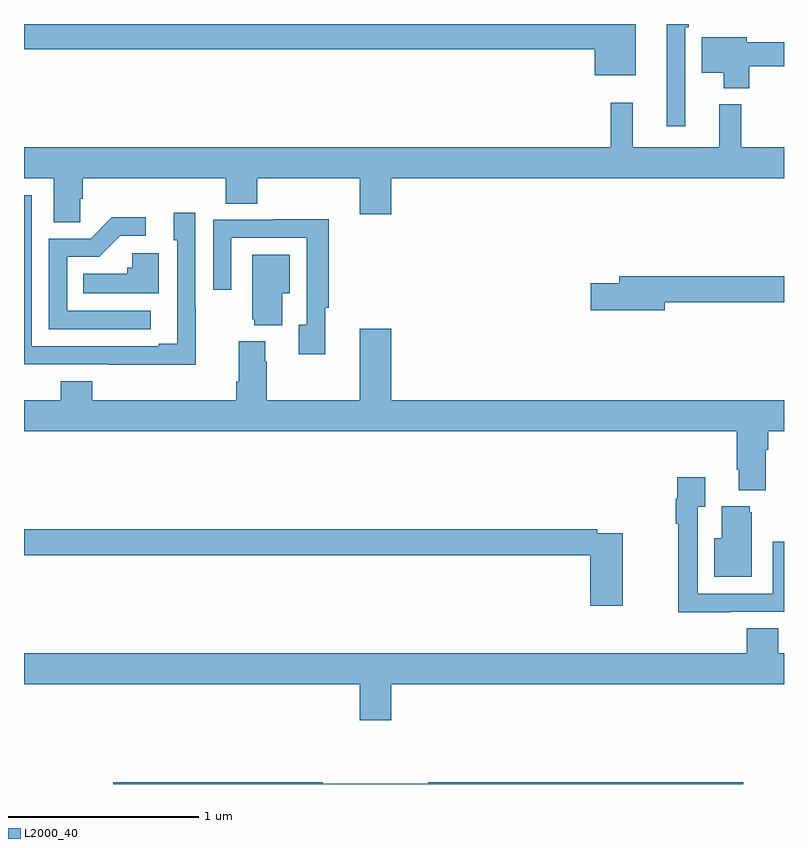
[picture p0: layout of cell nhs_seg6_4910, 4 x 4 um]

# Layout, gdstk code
import gdstk
lib = gdstk.Library(unit=1e-6, precision=1e-09)
def P(c, l, *ps):  # polygons
    for p in ps: c.add(gdstk.Polygon(p, *l))
L2000_40 = (2000, 40)

nhs_seg6_4910 = lib.new_cell('nhs_seg6_4910')
P(nhs_seg6_4910, L2000_40, [(406.479,929.483),(406.499,929.483),(406.499,929.5),(406.382,929.5),(406.382,928.962),(406.479,928.962)],
  [(406.219,929.5),(403,929.5),(403,929.368),(406.004,929.368),(406.004,929.231),(406.219,929.231)],
  [(406.817,929.277),(407,929.277),(407,929.405),(406.804,929.405),(406.804,929.431),(406.568,929.431),(406.568,929.243),(406.682,929.243),(406.682,929.162),(406.817,929.162)],
  [(403.296,928.579),(403.31,928.579),(403.31,928.688),(404.063,928.688),(404.063,928.555),(404.228,928.555),(404.228,928.688),(404.768,928.688),(404.768,928.5),(404.932,928.5),(404.932,928.688),(407,928.688),(407,928.852),(406.775,928.852),(406.775,929.077),(406.658,929.077),(406.658,928.852),(406.205,928.852),(406.205,929.086),(406.087,929.086),(406.087,928.852),(403,928.852),(403,928.688),(403.157,928.688),(403.157,928.456),(403.296,928.456)],
  [(403.905,928.013),(403.902,928.013),(403.902,928.507),(403.787,928.507),(403.787,928.362),(403.806,928.362),(403.806,927.817),(403.709,927.817),(403.709,927.804),(403.041,927.804),(403.041,928.599),(403,928.599),(403,927.708),(403.441,927.708),(403.441,927.707),(403.905,927.707)],
  [(403.666,927.99),(403.227,927.99),(403.227,928.275),(403.396,928.275),(403.507,928.386),(403.642,928.386),(403.642,928.484),(403.463,928.484),(403.35,928.371),(403.131,928.371),(403.131,927.894),(403.666,927.894)],
  [(404.585,928.006),(404.603,928.006),(404.603,928.472),(404.311,928.472),(404.311,928.47),(403.995,928.47),(403.995,928.101),(404.091,928.101),(404.091,928.374),(404.487,928.374),(404.487,927.918),(404.447,927.918),(404.447,927.762),(404.585,927.762)],
  [(403.708,928.294),(403.569,928.294),(403.569,928.218),(403.543,928.218),(403.543,928.186),(403.312,928.186),(403.312,928.082),(403.708,928.082)],
  [(404.359,928.082),(404.398,928.082),(404.398,928.285),(404.201,928.285),(404.201,927.945),(404.213,927.945),(404.213,927.914),(404.359,927.914)],
  [(406.372,928.036),(407,928.036),(407,928.172),(406.133,928.172),(406.133,928.136),(405.984,928.136),(405.984,927.994),(406.372,927.994)],
  [(406.903,927.26),(406.916,927.26),(406.916,927.356),(407,927.356),(407,927.52),(404.932,927.52),(404.932,927.895),(404.768,927.895),(404.768,927.52),(404.277,927.52),(404.277,927.722),(404.269,927.722),(404.269,927.829),(404.129,927.829),(404.129,927.616),(404.117,927.616),(404.117,927.52),(403.358,927.52),(403.358,927.619),(403.193,927.619),(403.193,927.52),(403,927.52),(403,927.356),(406.751,927.356),(406.751,927.154),(406.763,927.154),(406.763,927.047),(406.903,927.047)],
  [(406.721,926.406),(407,926.406),(407,926.776),(406.941,926.776),(406.941,926.502),(406.545,926.502),(406.545,926.959),(406.585,926.959),(406.585,927.115),(406.437,927.115),(406.437,927.002),(406.429,927.002),(406.429,926.87),(406.444,926.87),(406.444,926.405),(406.721,926.405)],
  [(406.831,926.931),(406.82,926.931),(406.82,926.962),(406.673,926.962),(406.673,926.794),(406.634,926.794),(406.634,926.591),(406.831,926.591)],
  [(406.15,926.82),(406.016,926.82),(406.016,926.84),(403,926.84),(403,926.704),(405.98,926.704),(405.98,926.439),(406.15,926.439)],
  [(404.932,926.024),(407,926.024),(407,926.188),(406.97,926.188),(406.97,926.321),(406.805,926.321),(406.805,926.188),(403,926.188),(403,926.024),(404.768,926.024),(404.768,925.836),(404.932,925.836)],
  [(406.786,925.508),(405.128,925.508),(405.128,925.501),(404.573,925.501),(404.573,925.508),(403.469,925.508),(403.469,925.5),(406.786,925.5)])

lib.write_gds('nhs_seg6_4910.gds')
